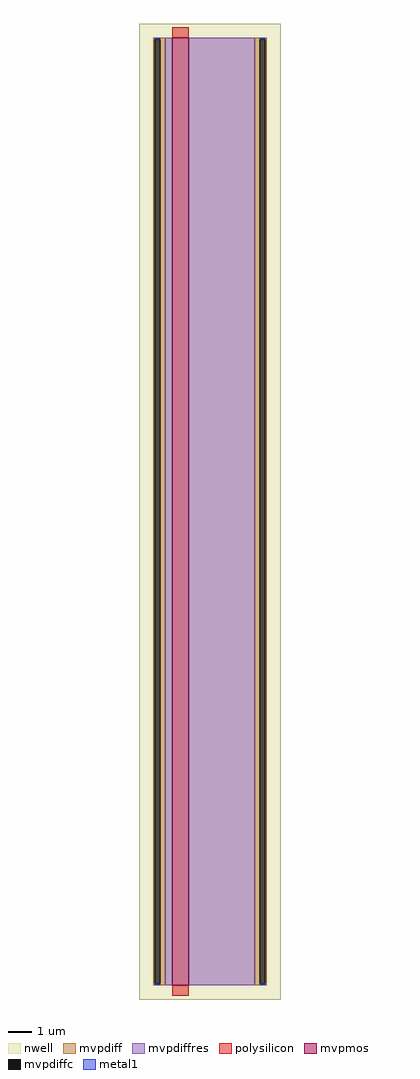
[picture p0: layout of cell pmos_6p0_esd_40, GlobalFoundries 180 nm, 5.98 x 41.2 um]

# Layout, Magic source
magic
tech gf180mcuD
magscale 1 10
<< nwell >>
rect 0 12 1196 8252
<< mvpmos >>
rect 278 132 418 8132
<< mvpdiff >>
rect 120 8119 222 8132
rect 120 145 133 8119
rect 179 145 222 8119
rect 120 132 222 145
rect 974 8119 1076 8132
rect 974 145 1017 8119
rect 1063 145 1076 8119
rect 974 132 1076 145
<< mvpdiffc >>
rect 133 145 179 8119
rect 1017 145 1063 8119
<< polysilicon >>
rect 278 8132 418 8220
rect 278 44 418 132
<< mvpdiffres >>
rect 222 132 278 8132
rect 418 132 974 8132
<< metal1 >>
rect 133 8119 179 8132
rect 133 132 179 145
rect 1017 8119 1063 8132
rect 1017 132 1063 145
<< properties >>
string GDS_END 2958420
string GDS_FILE $PDKPATH/libs.ref/gf180mcu_fd_io/gds/gf180mcu_fd_io.gds
string GDS_START 2946640
<< end >>
